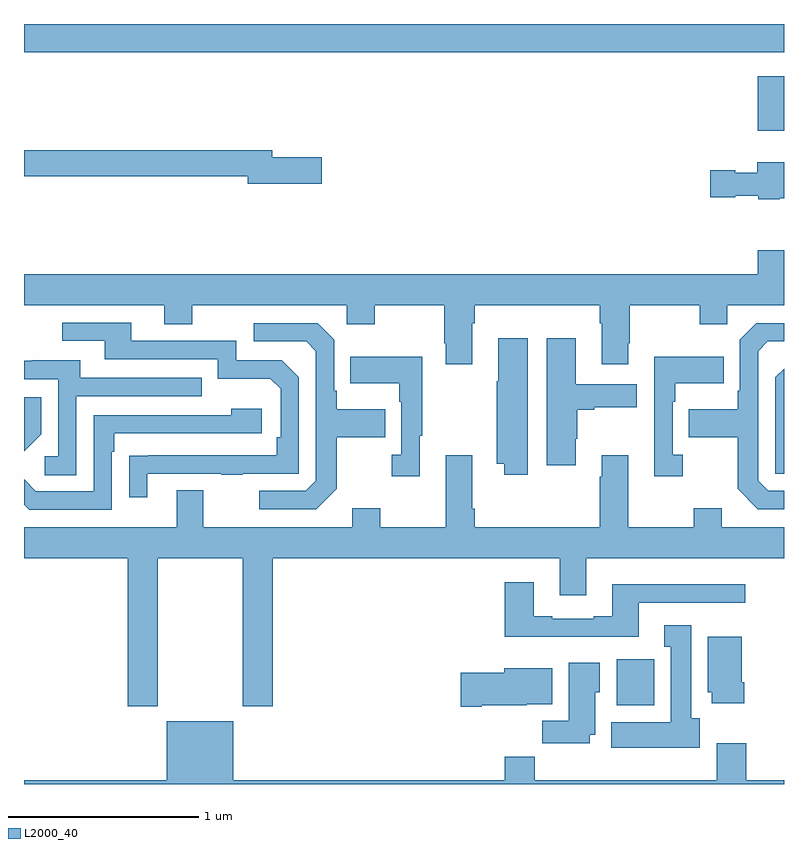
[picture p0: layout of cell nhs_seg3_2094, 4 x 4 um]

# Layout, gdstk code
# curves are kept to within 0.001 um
import gdstk
lib = gdstk.Library(unit=1e-6, precision=1e-09)
def R(c, l, rs):  # rectangles x0, y0, x1, y1
    for r in rs: c.add(gdstk.rectangle(r[:2], r[2:], *l))
def P(c, l, *ps):  # polygons
    for p in ps: c.add(gdstk.Polygon(p, *l))
L2000_40 = (2000, 40)

nhs_seg3_2094 = lib.new_cell('nhs_seg3_2094')
R(nhs_seg3_2094, L2000_40, [(222.119,694.814,222.316,695.056), (222.863,697.838,223,698.125), (219,698.252,223,698.4)])
P(nhs_seg3_2094, L2000_40, [(220.567,697.7),(220.306,697.7),(220.306,697.736),(219,697.736),(219,697.6),(220.178,697.6),(220.178,697.558),(220.567,697.558)],
  [(222.978,697.484),(223,697.484),(223,697.672),(222.86,697.672),(222.86,697.618),(222.744,697.618),(222.744,697.631),(222.612,697.631),(222.612,697.489),(222.744,697.489),(222.744,697.496),(222.864,697.496),(222.864,697.478),(222.978,697.478)],
  [(221.359,696.824),(221.372,696.824),(221.372,696.92),(222.029,696.92),(222.029,696.824),(222.041,696.824),(222.041,696.609),(222.181,696.609),(222.181,696.721),(222.189,696.721),(222.189,696.92),(222.556,696.92),(222.556,696.821),(222.702,696.821),(222.702,696.92),(223,696.92),(223,697.208),(222.863,697.208),(222.863,697.084),(219,697.084),(219,696.92),(219.737,696.92),(219.737,696.821),(219.885,696.821),(219.885,696.92),(220.698,696.92),(220.698,696.821),(220.845,696.821),(220.845,696.92),(221.212,696.92),(221.212,696.721),(221.219,696.721),(221.219,696.609),(221.359,696.609)],
  [(219.649,696.033),(220.039,696.033),(220.039,696.028),(220.151,696.028),(220.151,696.033),(220.446,696.033),(220.446,696.54),(220.356,696.63),(220.116,696.63),(220.116,696.732),(219.565,696.732),(219.565,696.828),(219.201,696.828),(219.201,696.732),(219.425,696.732),(219.425,696.636),(220.02,696.636),(220.02,696.533),(220.297,696.533),(220.35,696.48),(220.35,696.226),(220.33,696.226),(220.33,696.129),(219.553,696.128),(219.553,695.91),(219.649,695.91)],
  [(220.645,695.953),(220.645,696.226),(220.901,696.226),(220.901,696.373),(220.645,696.373),(220.645,696.469),(220.632,696.469),(220.632,696.738),(220.545,696.825),(220.209,696.825),(220.209,696.729),(220.485,696.729),(220.536,696.678),(220.536,695.997),(220.482,695.943),(220.239,695.943),(220.239,695.847),(220.539,695.847)],
  [(223,695.943),(222.918,695.943),(222.864,695.997),(222.864,696.678),(222.915,696.729),(223,696.729),(223,696.825),(222.855,696.825),(222.768,696.738),(222.768,696.469),(222.756,696.469),(222.756,696.373),(222.499,696.373),(222.499,696.226),(222.756,696.226),(222.756,695.953),(222.861,695.847),(223,695.847)],
  [(221.905,696.217),(221.913,696.217),(221.913,696.371),(222.001,696.371),(222.001,696.383),(222.226,696.383),(222.226,696.505),(221.905,696.505),(221.905,696.745),(221.75,696.745),(221.75,696.078),(221.905,696.078)],
  [(221.65,696.745),(221.495,696.745),(221.495,696.521),(221.488,696.521),(221.488,696.086),(221.528,696.086),(221.528,696.027),(221.65,696.027)],
  [(221.083,696.233),(221.095,696.233),(221.095,696.649),(220.717,696.649),(220.717,696.509),(220.974,696.509),(220.974,696.413),(220.986,696.413),(220.986,696.134),(220.935,696.134),(220.935,696.021),(221.083,696.021)],
  [(222.466,696.134),(222.414,696.134),(222.414,696.413),(222.427,696.413),(222.427,696.509),(222.683,696.509),(222.683,696.649),(222.318,696.649),(222.318,696.287),(222.317,696.287),(222.317,696.021),(222.466,696.021)],
  [(219.276,696.441),(219.935,696.441),(219.935,696.537),(219.295,696.537),(219.295,696.631),(219.041,696.631),(219.041,696.627),(219,696.627),(219,696.531),(219.18,696.531),(219.18,696.126),(219.108,696.126),(219.108,696.025),(219.276,696.025)],
  [(223,696.586),(222.954,696.54),(222.954,696.033),(223,696.033)],
  [(219.09,696.242),(219.09,696.436),(219,696.436),(219,696.152)],
  [(219.462,696.149),(219.475,696.149),(219.475,696.246),(220.252,696.246),(220.252,696.376),(220.091,696.376),(220.091,696.342),(219.366,696.342),(219.366,695.94),(219.063,695.94),(219,696.003),(219,695.871),(219.027,695.844),(219.462,695.844)],
  [(219.705,695.588),(220.15,695.588),(220.15,694.809),(220.31,694.809),(220.31,695.588),(221.819,695.588),(221.819,695.394),(221.959,695.394),(221.959,695.588),(223,695.588),(223,695.752),(222.673,695.752),(222.673,695.851),(222.526,695.851),(222.526,695.752),(222.181,695.752),(222.181,696.13),(222.041,696.13),(222.041,696.017),(222.029,696.017),(222.029,695.752),(221.372,695.752),(221.372,695.848),(221.359,695.848),(221.359,696.13),(221.219,696.13),(221.219,695.752),(220.875,695.752),(220.875,695.851),(220.727,695.851),(220.727,695.752),(219.943,695.752),(219.943,695.947),(219.803,695.947),(219.803,695.752),(219,695.752),(219,695.588),(219.545,695.588),(219.545,694.809),(219.705,694.809)],
  [(222.235,695.355),(222.796,695.355),(222.796,695.452),(222.095,695.452),(222.095,695.284),(221.999,695.284),(221.999,695.271),(221.779,695.271),(221.779,695.284),(221.683,695.284),(221.683,695.461),(221.531,695.461),(221.531,695.174),(222.235,695.174)],
  [(222.556,694.746),(222.511,694.746),(222.511,695.236),(222.371,695.236),(222.371,695.123),(222.404,695.123),(222.404,694.726),(222.092,694.726),(222.092,694.592),(222.556,694.592)],
  [(222.791,694.936),(222.778,694.936),(222.778,695.176),(222.599,695.176),(222.599,694.884),(222.62,694.884),(222.62,694.824),(222.791,694.824)],
  [(221.977,694.658),(222.007,694.658),(222.007,694.884),(222.031,694.884),(222.031,695.038),(221.867,695.038),(221.867,694.732),(221.728,694.732),(221.728,694.614),(221.977,694.614)],
  [(221.41,694.814),(221.646,694.814),(221.646,694.82),(221.779,694.82),(221.779,695.008),(221.528,695.008),(221.528,694.985),(221.298,694.985),(221.298,694.807),(221.41,694.807)],
  [(223,694.42),(222.8,694.42),(222.8,694.615),(222.647,694.615),(222.647,694.42),(221.687,694.42),(221.687,694.544),(221.531,694.544),(221.531,694.42),(220.102,694.42),(220.102,694.729),(219.752,694.729),(219.752,694.42),(219,694.42),(219,694.4),(223,694.4)])

lib.write_gds('nhs_seg3_2094.gds')
